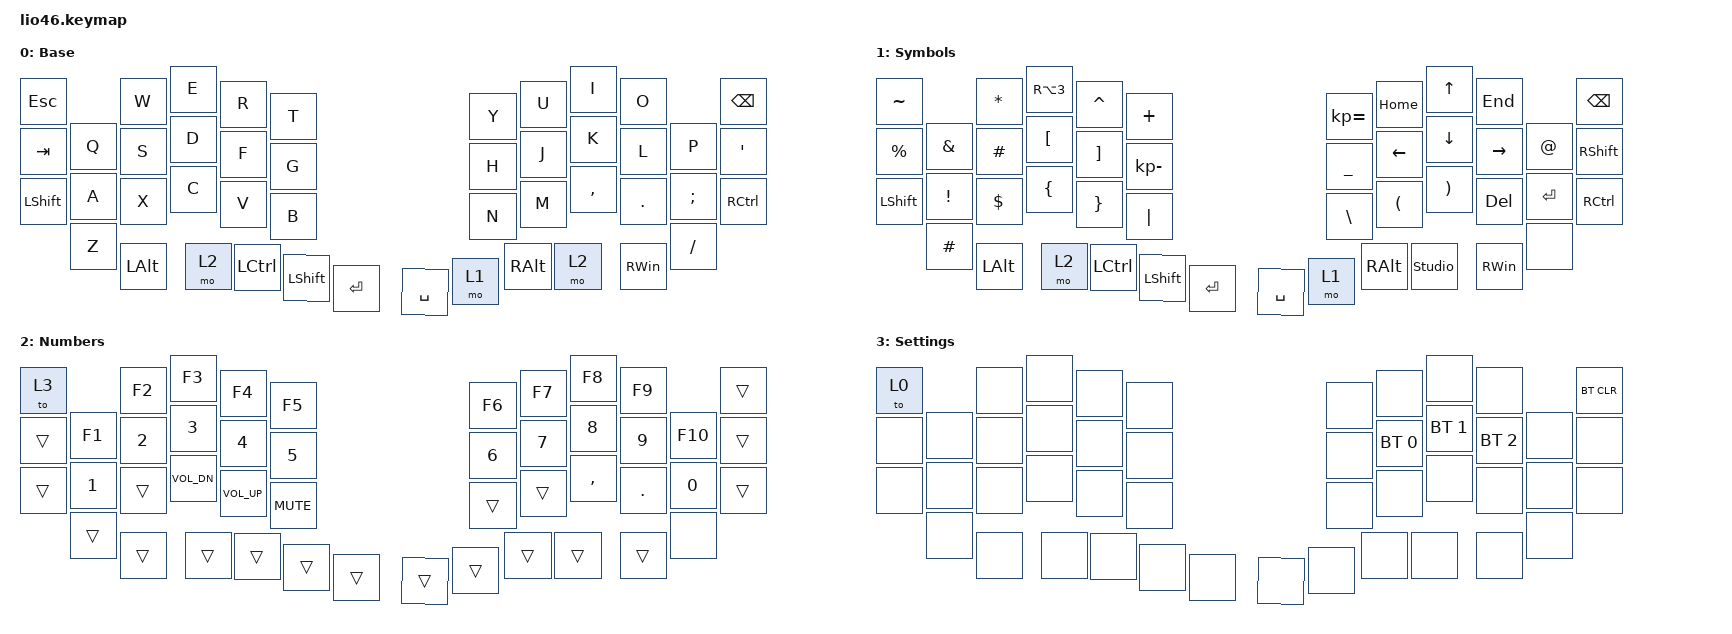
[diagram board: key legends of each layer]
#include <behaviors.dtsi>
#include <dt-bindings/zmk/keys.h>
#include <dt-bindings/zmk/bt.h>

/ {
        keymap {
                compatible = "zmk,keymap";
                base {
                        label = "BASE";
                        display-name = "Base";
                        bindings = <
        &kp ESC    &kp Q  &kp W     &kp E     &kp R      &kp T                          &kp Y  &kp U     &kp I      &kp O    &kp P     &kp BSPC
        &kp TAB    &kp A  &kp S     &kp D     &kp F      &kp G                          &kp H  &kp J     &kp K      &kp L    &kp SEMI  &kp SQT
        &kp LSHFT  &kp Z  &kp X     &kp C     &kp V      &kp B                          &kp N  &kp M     &kp COMMA  &kp DOT  &kp FSLH  &kp RCTRL
                          &kp LALT  &mo 2  &kp LCTRL  &kp LSHFT  &kp RET      &kp SPACE &mo 1  &kp RALT  &mo 2      &kp RWIN
                        >;
                                // | ESC  |  Q  |  W  |  E  |  R  |                |  Y  |  U  |  I  |  O  |  P  |  <-  |
                                // | TAB  |  A  |  S  |  D  |  F  |                |  H  |  J  |  K  |  L  |  ;  |  '   |
                                // | LSHFT|  Z  |  X  |  C  |  V  |                |  N  |  M  |  ,  |  .  |  /  | RCTRL|
                                //              | LWIN|LCTRL|LSHFT| ENT |    | SPC | MO1 |RALT |RWIN |unlk |
                };

                sym {
                        label = "SYM";
                        display-name = "Symbols";
                        bindings = <
        &kp TILDE  &kp AMPS  &kp STAR  &kp RA(N3)  &kp CARET  &kp PLUS                       &kp KP_EQUAL  &kp HOME  &kp UP          &kp END    &kp AT   &kp BSPC
        &kp PRCNT  &kp EXCL  &kp HASH  &kp LBKT    &kp RBKT   &kp KP_MINUS                   &kp UNDER     &kp LEFT  &kp DOWN        &kp RIGHT  &kp RET  &kp RSHFT
        &kp LSHFT  &kp HASH  &kp DLLR  &kp LBRC    &kp RBRC   &kp PIPE                       &kp BSLH      &kp LPAR  &kp RPAR        &kp DEL    &none    &kp RCTRL
                             &kp LALT  &mo 2       &kp LCTRL  &kp LSHFT  &kp RET   &kp SPACE &mo 1         &kp RALT  &studio_unlock  &kp RWIN
                        >;
                                // | `    |  *  |  ê  |  ^  |  +  |                |  =  |HOME | UP  | END |  @  |  <-  |
                                // | %    |  #  |  [  |  ]  |  -  |                |  _  | <-  | DOW | ->  | RET |      |
                                // |LSHFT |  $  |  {  |  }  |  |  |                |  \  |  (  |  )  | DEL |     |RCTRL |
                                //              |LWIN |LCTRL|LSHFT| ENT |    | SPC | MO1 |RALT | unl | unl |
                };

                num {
                        label = "NUM";
                        display-name = "Numbers";
                        bindings = <
        &to 3   &kp F1  &kp F2  &kp F3        &kp F4        &kp F5                         &kp F6  &kp F7  &kp F8     &kp F9   &kp F10  &trans
        &trans  &kp N1  &kp N2  &kp N3        &kp N4        &kp N5                         &kp N6  &kp N7  &kp N8     &kp N9   &kp N0   &trans
        &trans  &trans  &trans  &kp C_VOL_DN  &kp C_VOL_UP  &kp K_MUTE                     &trans  &trans  &kp COMMA  &kp DOT  &none    &trans
                        &trans  &trans        &trans        &trans  &trans         &trans  &trans  &trans  &trans     &trans
                        >;
                                // | to3 | F1  | F2  | F3  | F4  | F5  |                | F6  | F7  | F8  | F9  | F10  |     |
                                // |     |  1  |  2  |  3  |  4  |  5  |                |  6  |  7  |  8  |  9  |  0   |     |
                                // |     |     |     |vol+ |vol- |MUTE |                |     |     |  ,  |  .  |      |     |
                                //             |     |     |     |     |     |    |     |     |     |     |     |
                };
                settings {
                        label = "SETTINGS";
                        display-name = "Settings";
                        bindings = <
        &to 0  &none  &none  &none  &none  &none                     &none  &none         &none         &none         &none  &bt BT_CLR
        &none  &none  &none  &none  &none  &none                     &none  &bt BT_SEL 0  &bt BT_SEL 1  &bt BT_SEL 2  &none  &none
        &none  &none  &none  &none  &none  &none                     &none  &none         &none         &none         &none  &none
                      &none  &none  &none  &none  &none       &none  &none  &none         &none         &none
                        >;
                                // | to0 |     |     |     |     |                |     |     |     |     |     | clr |
                                // |     |     |     |     |     |                |     | bt1 | bt2 | bt3 |     |     |
                                // |     |     |     |     |     |                |     |     |     |     |     |     |
                                //             |     |     |     |     |    |     |     |     |     |     |
                };
        };
};
